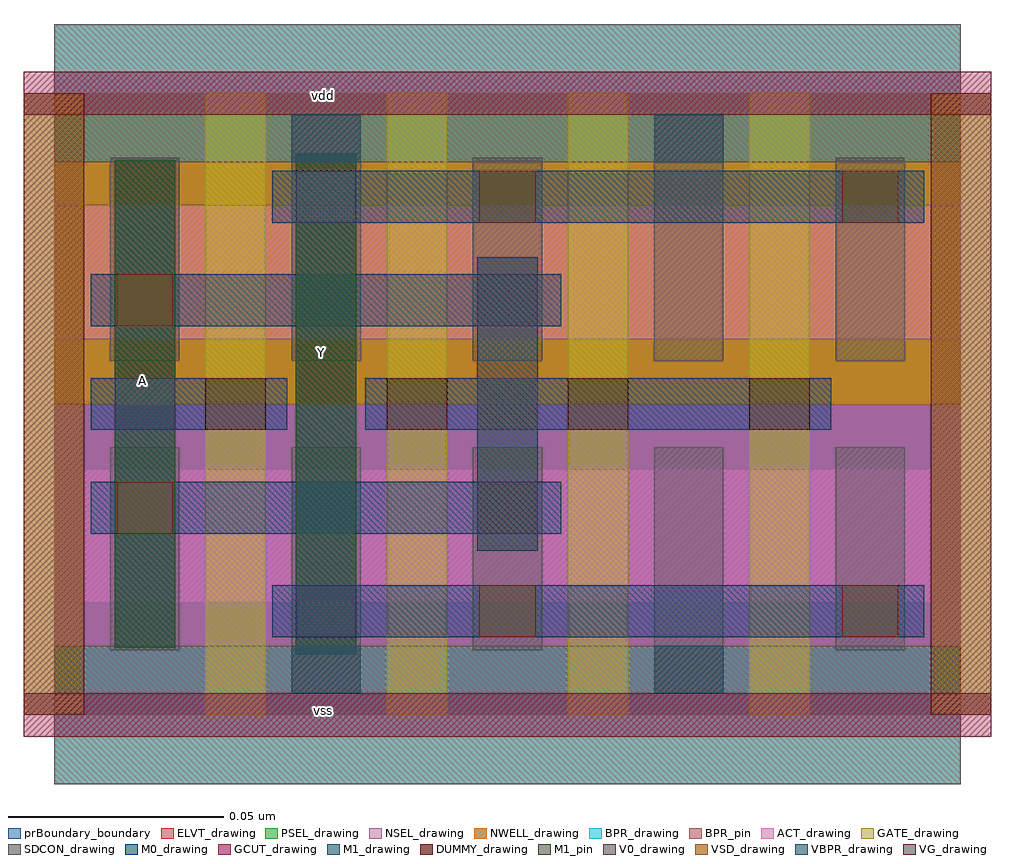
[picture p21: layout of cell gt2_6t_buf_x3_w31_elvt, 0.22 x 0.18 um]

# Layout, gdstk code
import gdstk
lib = gdstk.Library(unit=1e-6, precision=5e-10)
def R(c, l, rs):  # rectangles x0, y0, x1, y1
    for r in rs: c.add(gdstk.rectangle(r[:2], r[2:], *l))
def A(c, l, x, y, w, h, nx, ny, dx, dy):  # array of equal rectangles
    R(c, l, [(x+i*dx, y+j*dy, x+i*dx+w, y+j*dy+h) for i in range(nx) for j in range(ny)])
NWELL_drawing = (1, 0)
ACT_drawing = (2, 0)
GATE_drawing = (3, 0)
DUMMY_drawing = (4, 0)
GCUT_drawing = (5, 0)
NSEL_drawing = (6, 0)
PSEL_drawing = (7, 0)
BPR_drawing = (8, 0)
BPR_pin = (8, 251)
VBPR_drawing = (9, 0)
SDCON_drawing = (10, 0)
VSD_drawing = (11, 0)
VG_drawing = (12, 0)
M0_drawing = (20, 0)
V0_drawing = (22, 0)
M1_drawing = (25, 0)
M1_pin = (25, 251)
ELVT_drawing = (94, 0)
prBoundary_boundary = (235, 250)

gt2_6t_buf_x3_w31_elvt = lib.new_cell('gt2_6t_buf_x3_w31_elvt')
R(gt2_6t_buf_x3_w31_elvt, NWELL_drawing, [(0,0.072,0.21,0.144)])
R(gt2_6t_buf_x3_w31_elvt, ACT_drawing, [(0,0.026,0.21,0.057), (0,0.087,0.21,0.118)])
A(gt2_6t_buf_x3_w31_elvt, GATE_drawing, -0.007, 0, 0.014, 0.144, 6, 1, 0.042, 0)
R(gt2_6t_buf_x3_w31_elvt, DUMMY_drawing, [(-0.007,0,0.007,0.144), (0.203,0,0.217,0.144)])
R(gt2_6t_buf_x3_w31_elvt, GCUT_drawing, [(-0.007,-0.005,0.217,0.005), (-0.007,0.139,0.217,0.149)])
R(gt2_6t_buf_x3_w31_elvt, NSEL_drawing, [(0,0,0.21,0.072)])
R(gt2_6t_buf_x3_w31_elvt, PSEL_drawing, [(0,0.072,0.21,0.144)])
R(gt2_6t_buf_x3_w31_elvt, BPR_drawing, [(0,-0.016,0.21,0.016), (0,0.128,0.21,0.16)])
R(gt2_6t_buf_x3_w31_elvt, BPR_pin, [(0,-0.016,0.21,0.016), (0,0.128,0.21,0.16)])
R(gt2_6t_buf_x3_w31_elvt, VBPR_drawing, [(0.055,0.005,0.071,0.016), (0.139,0.005,0.155,0.016), (0.055,0.128,0.071,0.139), (0.139,0.128,0.155,0.139)])
A(gt2_6t_buf_x3_w31_elvt, SDCON_drawing, 0.013, 0.015, 0.016, 0.047, 3, 2, 0.084, 0.067)
R(gt2_6t_buf_x3_w31_elvt, SDCON_drawing, [(0.055,0.005,0.071,0.062), (0.139,0.005,0.155,0.062), (0.055,0.082,0.071,0.139), (0.139,0.082,0.155,0.139)])
R(gt2_6t_buf_x3_w31_elvt, VSD_drawing, [(0.0985,0.018,0.1115,0.03), (0.1825,0.018,0.1955,0.03), (0.0145,0.042,0.0275,0.054), (0.0145,0.09,0.0275,0.102), (0.0985,0.114,0.1115,0.126), (0.1825,0.114,0.1955,0.126)])
A(gt2_6t_buf_x3_w31_elvt, VG_drawing, 0.035, 0.066, 0.014, 0.012, 4, 1, 0.042, 0)
R(gt2_6t_buf_x3_w31_elvt, M0_drawing, [(0.0505,0.018,0.2015,0.03), (0.0085,0.042,0.1175,0.054), (0.0085,0.066,0.054,0.078), (0.072,0.066,0.18,0.078), (0.0085,0.09,0.1175,0.102), (0.0505,0.114,0.2015,0.126)])
A(gt2_6t_buf_x3_w31_elvt, V0_drawing, 0.098, 0.042, 0.014, 0.012, 1, 3, 0, 0.024)
R(gt2_6t_buf_x3_w31_elvt, V0_drawing, [(0.056,0.018,0.07,0.03), (0.014,0.066,0.028,0.078), (0.056,0.114,0.07,0.126)])
R(gt2_6t_buf_x3_w31_elvt, M1_drawing, [(0.056,0.014,0.07,0.13), (0.014,0.0155,0.028,0.1285), (0.098,0.038,0.112,0.106)])
R(gt2_6t_buf_x3_w31_elvt, M1_pin, [(0.056,0.014,0.07,0.13), (0.014,0.0155,0.028,0.1285)])
R(gt2_6t_buf_x3_w31_elvt, ELVT_drawing, [(0,0,0.21,0.144)])
R(gt2_6t_buf_x3_w31_elvt, prBoundary_boundary, [(0,0,0.21,0.144)])
gt2_6t_buf_x3_w31_elvt.add(gdstk.Label('vdd', (0.0625,0.1435), layer=8, texttype=251))
gt2_6t_buf_x3_w31_elvt.add(gdstk.Label('vss', (0.0625,0.001), layer=8, texttype=251))
gt2_6t_buf_x3_w31_elvt.add(gdstk.Label('Y', (0.062,0.084), layer=25, texttype=251))
gt2_6t_buf_x3_w31_elvt.add(gdstk.Label('A', (0.0205,0.0775), layer=25, texttype=251))

lib.write_gds('gt2_6t_buf_x3_w31_elvt.gds')
